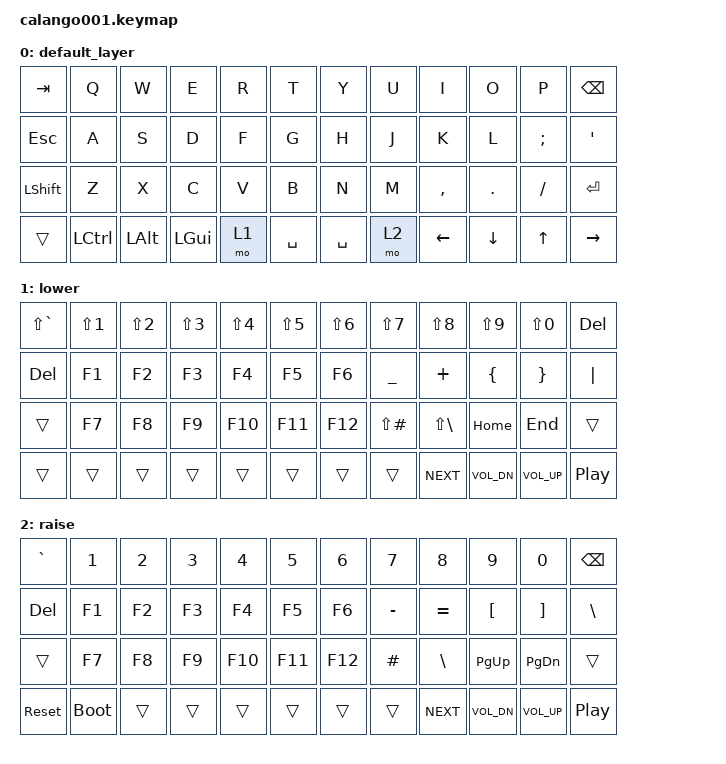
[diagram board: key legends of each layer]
// This file was generated from a template. Edit it to match your keyboard.
// See https://zmk.dev/docs/development/hardware-integration/new-shield for more instructions.


#include <behaviors.dtsi>
#include <dt-bindings/zmk/keys.h>

/ {
    // Define a default keymap here.
    // See https://zmk.dev/docs/development/hardware-integration/new-shield#default-keymap.
    keymap {
        compatible = "zmk,keymap";

        default_layer {
            // -----------------------------------------------------------------------------------------
            // |  TAB  |  Q   |  W   |  E   |  R   |  T   |   Y   |  U    |  I   |  O   |   P   | BSPC  |
            // |  ESC  |  A   |  S   |  D   |  F   |  G   |   H   |  J    |  K   |  L   |   ;   |  '    |
            // | SHIFT |  Z   |  X   |  C   |  V   |  B   |   N   |  M    |  ,   |  .   |   /   |  RET  |
            // |       | LCTRL | LALT | LGUI | LOWR| SPACE| SPACE |  RAIS | LEFT | DOWN | UP  |  RIGHT |
            bindings = <
                &kp TAB  &kp Q    &kp W &kp E &kp R &kp T  &kp Y   &kp U  &kp I    &kp O   &kp P    &kp BSPC
                &kp ESC  &kp A    &kp S &kp D &kp F &kp G  &kp H   &kp J  &kp K    &kp L   &kp SEMI &kp SQT
                &kp LSHFT &kp Z    &kp X &kp C &kp V &kp B  &kp N   &kp M  &kp COMMA &kp DOT &kp SLASH &kp RET
                &trans   &kp LCTRL &kp LALT &kp LGUI &mo 1 &kp SPACE &kp SPACE &mo 2 &kp LEFT &kp DOWN &kp UP &kp RIGHT
            >;
        };

        lower {
            bindings = <
                &kp LS(GRAVE) &kp LS(N1) &kp LS(N2) &kp LS(N3) &kp LS(N4) &kp LS(N5) &kp LS(N6) &kp LS(N7) &kp LS(N8) &kp LS(N9) &kp LS(N0) &kp DEL
                &kp DEL &kp F1 &kp F2 &kp F3 &kp F4 &kp F5 &kp F6 &kp UNDER &kp PLUS &kp LBRC &kp RBRC &kp PIPE
                &trans &kp F7 &kp F8 &kp F9 &kp F10 &kp F11 &kp F12 &kp LS(HASH) &kp LS(BSLH) &kp HOME &kp END &trans
                &trans &trans &trans &trans &trans &trans &trans &trans &kp C_NEXT &kp C_VOL_DN &kp C_VOL_UP &kp C_PP
            >;
        };

        raise {
            bindings = <
                &kp GRAVE &kp N1 &kp N2 &kp N3 &kp N4 &kp N5 &kp N6 &kp N7 &kp N8 &kp N9 &kp N0 &kp BSPC
                &kp DEL &kp F1 &kp F2 &kp F3 &kp F4 &kp F5 &kp F6 &kp MINUS &kp EQUAL &kp LBKT &kp RBKT &kp BSLH
                &trans &kp F7 &kp F8 &kp F9 &kp F10 &kp F11 &kp F12 &kp HASH &kp BSLH &kp PG_UP &kp PG_DN &trans
                &sys_reset &bootloader &trans &trans &trans &trans &trans &trans &kp C_NEXT &kp C_VOL_DN &kp C_VOL_UP &kp C_PP
            >;
        }; 
    };
};
